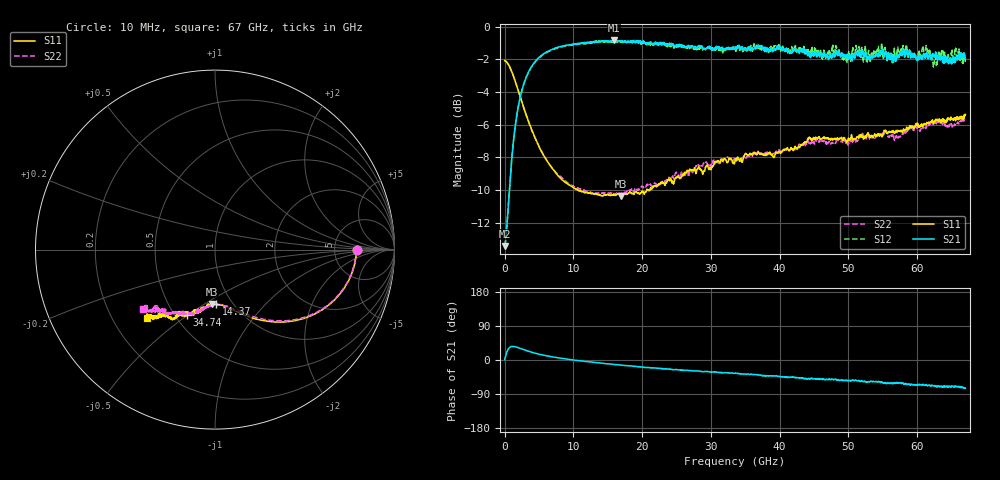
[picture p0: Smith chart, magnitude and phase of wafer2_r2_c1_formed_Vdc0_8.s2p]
!Keysight Technologies,N5227A,US51270248,A.10.65.08
!Date: Tuesday, June 11, 2024 07:25:06
!Correction: S11(Full 2 Port(1,4))
!S41(Full 2 Port(1,4))
!S14(Full 2 Port(1,4))
!S44(Full 2 Port(1,4))
!S2P File: Measurements: S11, S41, S14, S44:
# Hz S  dB  R 50
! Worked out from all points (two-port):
!   3201 points, 10 MHz to 67 GHz, reference 50 ohm
!   highest |S21| = -0.83 dB at 15.88 GHz (marker M1); lowest = -13.4 dB at 10 MHz (marker M2)
!   |S21| within 3 dB of the highest: 2.563 GHz to end of sweep
!   lowest |S11| = -10.4 dB at 16.97 GHz (marker M3), VSWR 1.87, Z = 40.2 - j26.8 ohm
!   |S11| at or under -10 dB: 10.58542 GHz to 10.62046 GHz (35.05 MHz wide, 0.331 % of centre); 10.65 GHz to 20.68 GHz (10.02 GHz wide, 64 % of centre); 20.77 GHz to 21.11 GHz (340.8 MHz wide, 1.63 % of centre)
!   |S22| runs from -10.3 to -2.1 dB; largest |S21 - S12| = 0.095
!   S11 on the Smith chart (normalised r, x): 10 MHz: 8.45, -0.18; 14.37 GHz: 0.84, -0.56; 34.74 GHz: 0.57, -0.50; 67 GHz: 0.35, -0.37
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1e7  -2.06 -0.3  -13.43 0.9  -13.45 1.0  -2.06 -0.2
1.475406e9  -3.24 -28.7  -6.35 35.3  -6.35 35.1  -3.25 -28.3
3.087353e9  -5.32 -48.2  -3.15 25.5  -3.16 25.4  -5.33 -47.2
6.101903e9  -8.19 -67.1  -1.54 11.1  -1.58 11.0  -8.16 -65.3
1.118896e10  -10.09 -82.6  -1.00 -2.4  -1.05 -2.6  -9.96 -80.9
1.437098e10  -10.34 -88.9  -0.86 -8.8  -0.91 -8.9  -10.19 -88.0
1.587826e10  -10.33 -92.1  -0.83 -11.6  -0.91 -11.2  -10.24 -91.1
1.696684e10  -10.38 -93.5  -0.85 -13.6  -0.96 -13.6  -10.23 -92.4
2.234698e10  -9.67 -99.3  -1.05 -21.7  -1.04 -21.3  -9.74 -100.2
3.3505e10  -8.21 -112.7  -1.33 -34.8  -1.42 -34.7  -8.00 -116.8
3.474013e10  -8.00 -113.3  -1.36 -37.1  -1.53 -35.0  -7.98 -117.1
4.468396e10  -6.87 -122.7  -1.60 -49.1  -1.30 -48.2  -7.04 -126.1
5.012689e10  -6.95 -126.6  -1.89 -53.9  -1.56 -53.0  -7.07 -130.4
5.173884e10  -6.67 -127.3  -1.77 -57.0  -1.83 -54.6  -6.78 -131.4
5.297397e10  -6.63 -129.4  -1.90 -57.8  -1.50 -57.1  -6.70 -134.2
5.460685e10  -6.66 -129.7  -1.44 -58.3  -1.81 -56.7  -6.59 -133.4
5.584198e10  -6.44 -129.3  -1.69 -60.4  -1.80 -60.3  -6.73 -135.6
5.730738e10  -6.39 -130.0  -1.89 -60.8  -1.66 -61.0  -6.74 -134.0
6.153613e10  -5.90 -131.6  -1.96 -67.6  -1.68 -68.1  -6.10 -136.7
6.264565e10  -5.71 -131.3  -1.62 -67.6  -1.91 -68.2  -5.85 -138.2
6.375517e10  -5.73 -133.9  -1.85 -70.9  -1.64 -70.4  -5.90 -140.6
6.7e10  -5.38 -134.6  -1.94 -74.5  -2.20 -75.1  -5.70 -140.6
